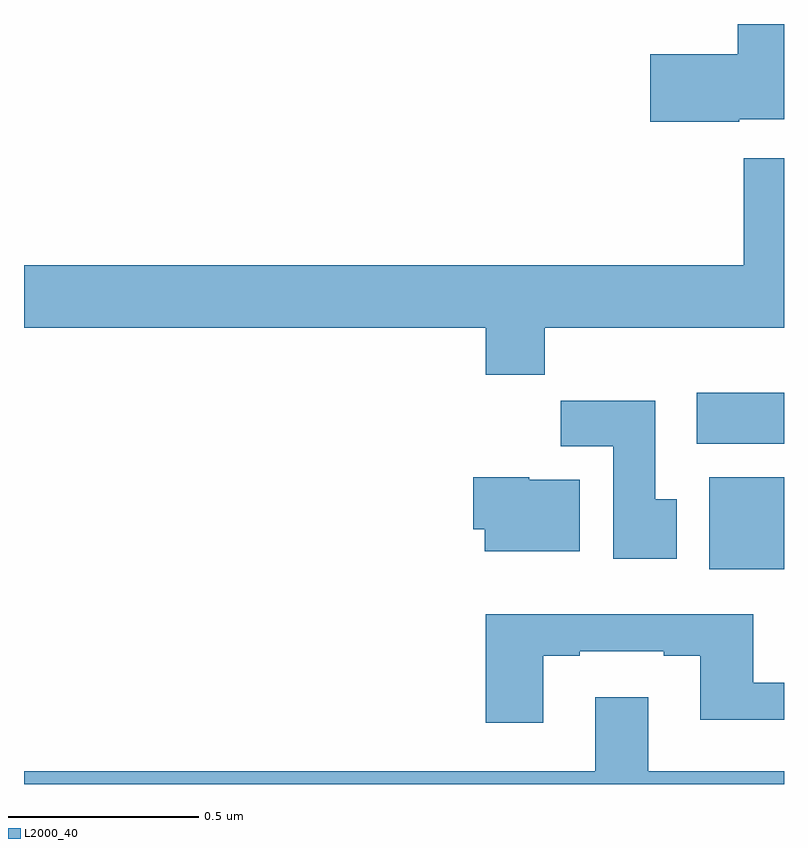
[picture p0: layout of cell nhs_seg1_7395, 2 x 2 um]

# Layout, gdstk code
import gdstk
lib = gdstk.Library(unit=1e-6, precision=1e-09)
def R(c, l, rs):  # rectangles x0, y0, x1, y1
    for r in rs: c.add(gdstk.rectangle(r[:2], r[2:], *l))
def P(c, l, *ps):  # polygons
    for p in ps: c.add(gdstk.Polygon(p, *l))
L2000_40 = (2000, 40)

nhs_seg1_7395 = lib.new_cell('nhs_seg1_7395')
R(nhs_seg1_7395, L2000_40, [(204.803,549.764,205,550.006), (204.771,550.094,205,550.228)])
P(nhs_seg1_7395, L2000_40, [(204.882,550.949),(205,550.949),(205,551.199),(204.878,551.199),(204.878,551.12),(204.648,551.12),(204.648,550.942),(204.882,550.942)],
  [(204.371,550.4),(205,550.4),(205,550.846),(204.894,550.846),(204.894,550.564),(203,550.564),(203,550.4),(204.215,550.4),(204.215,550.276),(204.371,550.276)],
  [(204.718,549.948),(204.661,549.948),(204.661,550.207),(204.412,550.207),(204.412,550.088),(204.551,550.088),(204.551,549.792),(204.718,549.792)],
  [(204.463,550),(204.33,550),(204.33,550.006),(204.182,550.006),(204.182,549.87),(204.212,549.87),(204.212,549.812),(204.463,549.812)],
  [(204.367,549.537),(204.463,549.537),(204.463,549.549),(204.683,549.549),(204.683,549.537),(204.779,549.537),(204.779,549.368),(205,549.368),(205,549.465),(204.919,549.465),(204.919,549.646),(204.215,549.646),(204.215,549.36),(204.367,549.36)],
  [(205,549.232),(204.643,549.232),(204.643,549.427),(204.503,549.427),(204.503,549.232),(203,549.232),(203,549.199),(205,549.199)])

lib.write_gds('nhs_seg1_7395.gds')
